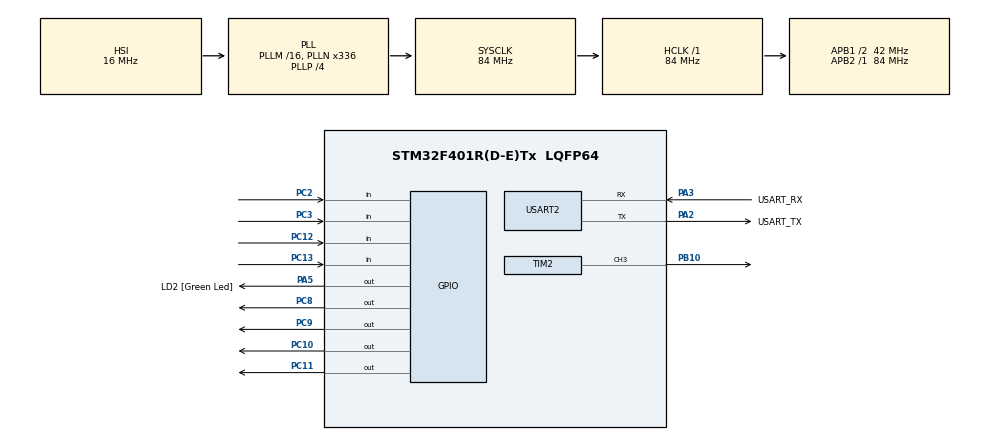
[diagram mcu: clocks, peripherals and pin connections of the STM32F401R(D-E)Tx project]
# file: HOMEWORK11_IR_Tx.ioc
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Mcu.Family=STM32F4
Mcu.Name=STM32F401R(D-E)Tx
Mcu.Package=LQFP64
NVIC.PriorityGroup=NVIC_PRIORITYGROUP_4
NVIC.TIM1_UP_TIM10_IRQn=true\:0\:0\:false\:false\:true\:true\:true\:true
NVIC.TIM3_IRQn=true\:0\:0\:false\:false\:true\:true\:true\:true
PA13.GPIO_Label=TMS
PA13.Mode=Trace_Asynchronous_SW
PA13.Signal=SYS_JTMS-SWDIO
PA14.GPIO_Label=TCK
PA14.Mode=Trace_Asynchronous_SW
PA14.Signal=SYS_JTCK-SWCLK
PA2.GPIO_Label=USART_TX
PA2.GPIO_Mode=GPIO_MODE_AF_PP
PA2.GPIO_PuPd=GPIO_NOPULL
PA2.GPIO_Speed=GPIO_SPEED_FREQ_LOW
PA2.Mode=Asynchronous
PA2.Signal=USART2_TX
PA3.GPIO_Label=USART_RX
PA3.GPIO_Mode=GPIO_MODE_AF_PP
PA3.GPIO_PuPd=GPIO_NOPULL
PA3.GPIO_Speed=GPIO_SPEED_FREQ_LOW
PA3.Mode=Asynchronous
PA3.Signal=USART2_RX
PA5.GPIO_Label=LD2 [Green Led]
PA5.GPIO_Mode=GPIO_MODE_OUTPUT_PP
PA5.GPIO_PuPd=GPIO_NOPULL
PA5.GPIO_Speed=GPIO_SPEED_FREQ_LOW
PA5.Signal=GPIO_Output
PB10.Signal=S_TIM2_CH3
PB3.GPIO_Label=SWO
PB3.Mode=Trace_Asynchronous_SW
PB3.Signal=SYS_JTDO-SWO
PC10.Signal=GPIO_Output
PC11.Signal=GPIO_Output
PC12.Signal=GPIO_Input
PC13-ANTI_TAMP.Signal=GPIO_Input
PC14-OSC32_IN.Mode=LSE-External-Oscillator
PC14-OSC32_IN.Signal=RCC_OSC32_IN
PC15-OSC32_OUT.Mode=LSE-External-Oscillator
PC15-OSC32_OUT.Signal=RCC_OSC32_OUT
PC2.Signal=GPIO_Input
PC3.Signal=GPIO_Input
PC8.Signal=GPIO_Output
PC9.Signal=GPIO_Output
PH0\ -\ OSC_IN.Mode=HSE-External-Clock-Source
PH0\ -\ OSC_IN.Signal=RCC_OSC_IN
PH1\ -\ OSC_OUT.Mode=HSE-External-Clock-Source
PH1\ -\ OSC_OUT.Signal=RCC_OSC_OUT
ProjectManager.HeapSize=0x200
ProjectManager.StackSize=0x400
ProjectManager.TargetToolchain=STM32CubeIDE
RCC.48MHZClocksFreq_Value=48000000
RCC.AHBFreq_Value=84000000
RCC.APB1CLKDivider=RCC_HCLK_DIV2
RCC.APB1Freq_Value=42000000
RCC.APB1TimFreq_Value=84000000
RCC.APB2Freq_Value=84000000
RCC.APB2TimFreq_Value=84000000
RCC.CortexFreq_Value=84000000
RCC.HCLKFreq_Value=84000000
RCC.HSE_VALUE=8000000
RCC.HSI_VALUE=16000000
RCC.PLLN=336
RCC.PLLP=RCC_PLLP_DIV4
RCC.PLLQ=7
RCC.SYSCLKFreq_VALUE=84000000
RCC.SYSCLKSource=RCC_SYSCLKSOURCE_PLLCLK
RCC.VCOOutputFreq_Value=336000000
SH.S_TIM2_CH3.0=TIM2_CH3,PWM Generation3 CH3
TIM10.Period=3999
TIM10.Prescaler=84-1
TIM2.Channel-PWM\ Generation3\ CH3=TIM_CHANNEL_3
TIM2.Period=99
TIM2.Prescaler=21
TIM2.Pulse-PWM\ Generation3\ CH3=50
TIM3.Period=99
TIM3.Prescaler=349
USART2.VirtualMode=VM_ASYNC
VP_TIM10_VS_ClockSourceINT.Mode=Enable_Timer
VP_TIM3_VS_ClockSourceINT.Mode=Internal
board=NUCLEO-F401RE

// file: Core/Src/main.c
/* USER CODE BEGIN Header */
/**
  ******************************************************************************
  * @file           : main.c
  * @brief          : Main program body
  ******************************************************************************
  * @attention
  *
  * Copyright (c) 2025 STMicroelectronics.
  * All rights reserved.
  *
  * This software is licensed under terms that can be found in the LICENSE file
  * in the root directory of this software component.
  * If no LICENSE file comes with this software, it is provided AS-IS.
  *
  ******************************************************************************
  */
/* USER CODE END Header */
#include "main.h"

/* USER CODE BEGIN PD */
#define PIN_C0 GPIOC,GPIO_PIN_11
#define PIN_C1 GPIOC,GPIO_PIN_10
#define PIN_C2 GPIOC,GPIO_PIN_9
#define PIN_C3 GPIOC,GPIO_PIN_8

#define PIN_R0 GPIOC,GPIO_PIN_3
#define PIN_R1 GPIOC,GPIO_PIN_2
#define PIN_R2 GPIOC,GPIO_PIN_13
#define PIN_R3 GPIOC,GPIO_PIN_12

#define DEBOUNCE_TIME 2
/* USER CODE END PD */

TIM_HandleTypeDef htim2;
TIM_HandleTypeDef htim3;
TIM_HandleTypeDef htim10;

UART_HandleTypeDef huart2;

/* USER CODE BEGIN PV */
char map[16] = "ABCDEF0123456789";
uint32_t keypress[16]; //Array to keep track of keypresses
uint32_t ack[16]; //Array for key press acknowledge
int column_index = 0;

uint8_t tx_byte; //transmit byte
int bit_index = -1; //-1 = start bit
uint8_t tx_in_progress = 0; //0: it is not transmitting

/* USER CODE END PV */

void SystemClock_Config(void);
static void MX_GPIO_Init(void);
static void MX_USART2_UART_Init(void);
static void MX_TIM2_Init(void);
static void MX_TIM3_Init(void);
static void MX_TIM10_Init(void);

/* USER CODE BEGIN 0 */

void send_byte(uint8_t b){
    if(tx_in_progress) return;

	tx_byte = b;
	bit_index = -1; //we begin from the start bit
	tx_in_progress = 1;

	HAL_TIM_Base_Start_IT(&htim3);
}

/* USER CODE END 0 */

int main(void)
{

  /* MCU Configuration--------------------------------------------------------*/

  /* Reset of all peripherals, Initializes the Flash interface and the Systick. */
  HAL_Init();

  /* Configure the system clock */
  SystemClock_Config();

  /* Initialize all configured peripherals */
  MX_GPIO_Init();
  MX_USART2_UART_Init();
  MX_TIM2_Init();
  MX_TIM3_Init();
  MX_TIM10_Init();
  /* USER CODE BEGIN 2 */
  HAL_TIM_Base_Start_IT(&htim10);
  /* USER CODE END 2 */

  /* Infinite loop */
  while (1)
  {

  }
}

void SystemClock_Config(void)
{
  RCC_OscInitTypeDef RCC_OscInitStruct = {0};
  RCC_ClkInitTypeDef RCC_ClkInitStruct = {0};

  /** Configure the main internal regulator output voltage
  */
  __HAL_RCC_PWR_CLK_ENABLE();
  __HAL_PWR_VOLTAGESCALING_CONFIG(PWR_REGULATOR_VOLTAGE_SCALE2);

  /** Initializes the RCC Oscillators according to the specified parameters
  * in the RCC_OscInitTypeDef structure.
  */
  RCC_OscInitStruct.OscillatorType = RCC_OSCILLATORTYPE_HSI;
  RCC_OscInitStruct.HSIState = RCC_HSI_ON;
  RCC_OscInitStruct.HSICalibrationValue = RCC_HSICALIBRATION_DEFAULT;
  RCC_OscInitStruct.PLL.PLLState = RCC_PLL_ON;
  RCC_OscInitStruct.PLL.PLLSource = RCC_PLLSOURCE_HSI;
  RCC_OscInitStruct.PLL.PLLM = 16;
  RCC_OscInitStruct.PLL.PLLN = 336;
  RCC_OscInitStruct.PLL.PLLP = RCC_PLLP_DIV4;
  RCC_OscInitStruct.PLL.PLLQ = 7;
  if (HAL_RCC_OscConfig(&RCC_OscInitStruct) != HAL_OK)
  {
    Error_Handler();
  }

  /** Initializes the CPU, AHB and APB buses clocks
  */
  RCC_ClkInitStruct.ClockType = RCC_CLOCKTYPE_HCLK|RCC_CLOCKTYPE_SYSCLK
                              |RCC_CLOCKTYPE_PCLK1|RCC_CLOCKTYPE_PCLK2;
  RCC_ClkInitStruct.SYSCLKSource = RCC_SYSCLKSOURCE_PLLCLK;
  RCC_ClkInitStruct.AHBCLKDivider = RCC_SYSCLK_DIV1;
  RCC_ClkInitStruct.APB1CLKDivider = RCC_HCLK_DIV2;
  RCC_ClkInitStruct.APB2CLKDivider = RCC_HCLK_DIV1;

  if (HAL_RCC_ClockConfig(&RCC_ClkInitStruct, FLASH_LATENCY_2) != HAL_OK)
  {
    Error_Handler();
  }
}

static void MX_TIM2_Init(void)
{

  TIM_MasterConfigTypeDef sMasterConfig = {0};
  TIM_OC_InitTypeDef sConfigOC = {0};

  htim2.Instance = TIM2;
  htim2.Init.Prescaler = 21;
  htim2.Init.CounterMode = TIM_COUNTERMODE_UP;
  htim2.Init.Period = 99;
  htim2.Init.ClockDivision = TIM_CLOCKDIVISION_DIV1;
  htim2.Init.AutoReloadPreload = TIM_AUTORELOAD_PRELOAD_DISABLE;
  if (HAL_TIM_PWM_Init(&htim2) != HAL_OK)
  {
    Error_Handler();
  }
  sMasterConfig.MasterOutputTrigger = TIM_TRGO_RESET;
  sMasterConfig.MasterSlaveMode = TIM_MASTERSLAVEMODE_DISABLE;
  if (HAL_TIMEx_MasterConfigSynchronization(&htim2, &sMasterConfig) != HAL_OK)
  {
    Error_Handler();
  }
  sConfigOC.OCMode = TIM_OCMODE_PWM1;
  sConfigOC.Pulse = 50;
  sConfigOC.OCPolarity = TIM_OCPOLARITY_HIGH;
  sConfigOC.OCFastMode = TIM_OCFAST_DISABLE;
  if (HAL_TIM_PWM_ConfigChannel(&htim2, &sConfigOC, TIM_CHANNEL_3) != HAL_OK)
  {
    Error_Handler();
  }
  HAL_TIM_MspPostInit(&htim2);

}

static void MX_TIM3_Init(void)
{

  TIM_ClockConfigTypeDef sClockSourceConfig = {0};
  TIM_MasterConfigTypeDef sMasterConfig = {0};

  htim3.Instance = TIM3;
  htim3.Init.Prescaler = 349;
  htim3.Init.CounterMode = TIM_COUNTERMODE_UP;
  htim3.Init.Period = 99;
  htim3.Init.ClockDivision = TIM_CLOCKDIVISION_DIV1;
  htim3.Init.AutoReloadPreload = TIM_AUTORELOAD_PRELOAD_DISABLE;
  if (HAL_TIM_Base_Init(&htim3) != HAL_OK)
  {
    Error_Handler();
  }
  sClockSourceConfig.ClockSource = TIM_CLOCKSOURCE_INTERNAL;
  if (HAL_TIM_ConfigClockSource(&htim3, &sClockSourceConfig) != HAL_OK)
  {
    Error_Handler();
  }
  sMasterConfig.MasterOutputTrigger = TIM_TRGO_RESET;
  sMasterConfig.MasterSlaveMode = TIM_MASTERSLAVEMODE_DISABLE;
  if (HAL_TIMEx_MasterConfigSynchronization(&htim3, &sMasterConfig) != HAL_OK)
  {
    Error_Handler();
  }

}

static void MX_TIM10_Init(void)
{

  htim10.Instance = TIM10;
  htim10.Init.Prescaler = 84-1;
  htim10.Init.CounterMode = TIM_COUNTERMODE_UP;
  htim10.Init.Period = 3999;
  htim10.Init.ClockDivision = TIM_CLOCKDIVISION_DIV1;
  htim10.Init.AutoReloadPreload = TIM_AUTORELOAD_PRELOAD_DISABLE;
  if (HAL_TIM_Base_Init(&htim10) != HAL_OK)
  {
    Error_Handler();
  }

}

static void MX_USART2_UART_Init(void)
{

  huart2.Instance = USART2;
  huart2.Init.BaudRate = 115200;
  huart2.Init.WordLength = UART_WORDLENGTH_8B;
  huart2.Init.StopBits = UART_STOPBITS_1;
  huart2.Init.Parity = UART_PARITY_NONE;
  huart2.Init.Mode = UART_MODE_TX_RX;
  huart2.Init.HwFlowCtl = UART_HWCONTROL_NONE;
  huart2.Init.OverSampling = UART_OVERSAMPLING_16;
  if (HAL_UART_Init(&huart2) != HAL_OK)
  {
    Error_Handler();
  }

}

static void MX_GPIO_Init(void)
{
  GPIO_InitTypeDef GPIO_InitStruct = {0};

  /* GPIO Ports Clock Enable */
  __HAL_RCC_GPIOC_CLK_ENABLE();
  __HAL_RCC_GPIOH_CLK_ENABLE();
  __HAL_RCC_GPIOA_CLK_ENABLE();
  __HAL_RCC_GPIOB_CLK_ENABLE();

  /*Configure GPIO pin Output Level */
  HAL_GPIO_WritePin(LD2_GPIO_Port, LD2_Pin, GPIO_PIN_RESET);

  /*Configure GPIO pin Output Level */
  HAL_GPIO_WritePin(GPIOC, GPIO_PIN_8|GPIO_PIN_9|GPIO_PIN_10|GPIO_PIN_11, GPIO_PIN_RESET);

  /*Configure GPIO pins : PC13 PC2 PC3 PC12 */
  GPIO_InitStruct.Pin = GPIO_PIN_13|GPIO_PIN_2|GPIO_PIN_3|GPIO_PIN_12;
  GPIO_InitStruct.Mode = GPIO_MODE_INPUT;
  GPIO_InitStruct.Pull = GPIO_NOPULL;
  HAL_GPIO_Init(GPIOC, &GPIO_InitStruct);

  /*Configure GPIO pin : LD2_Pin */
  GPIO_InitStruct.Pin = LD2_Pin;
  GPIO_InitStruct.Mode = GPIO_MODE_OUTPUT_PP;
  GPIO_InitStruct.Pull = GPIO_NOPULL;
  GPIO_InitStruct.Speed = GPIO_SPEED_FREQ_LOW;
  HAL_GPIO_Init(LD2_GPIO_Port, &GPIO_InitStruct);

  /*Configure GPIO pins : PC8 PC9 PC10 PC11 */
  GPIO_InitStruct.Pin = GPIO_PIN_8|GPIO_PIN_9|GPIO_PIN_10|GPIO_PIN_11;
  GPIO_InitStruct.Mode = GPIO_MODE_OUTPUT_PP;
  GPIO_InitStruct.Pull = GPIO_NOPULL;
  GPIO_InitStruct.Speed = GPIO_SPEED_FREQ_LOW;
  HAL_GPIO_Init(GPIOC, &GPIO_InitStruct);

}

/* USER CODE BEGIN 4 */
void HAL_TIM_PeriodElapsedCallback(TIM_HandleTypeDef *htim)
{
	if(htim == &htim10){
		if(HAL_GPIO_ReadPin(PIN_R0)==GPIO_PIN_SET){
			keypress[4*column_index] = 0;
		} else {
			keypress[4*column_index]++;
		}

		if(HAL_GPIO_ReadPin(PIN_R1)==GPIO_PIN_SET){
			keypress[4*column_index+1] = 0;
		} else {
			keypress[4*column_index+1]++;
		}

		if(HAL_GPIO_ReadPin(PIN_R2)==GPIO_PIN_SET){
			keypress[4*column_index+2] = 0;
		} else {
			keypress[4*column_index+2]++;
		}

		if(HAL_GPIO_ReadPin(PIN_R3)==GPIO_PIN_SET){
			keypress[4*column_index+3] = 0;
		} else {
			keypress[4*column_index+3]++;
		}

		column_index = (column_index+1) % 4;

		HAL_GPIO_WritePin(PIN_C0, (column_index==0)?GPIO_PIN_SET:GPIO_PIN_RESET);
		HAL_GPIO_WritePin(PIN_C1, (column_index==1)?GPIO_PIN_SET:GPIO_PIN_RESET);
		HAL_GPIO_WritePin(PIN_C2, (column_index==2)?GPIO_PIN_SET:GPIO_PIN_RESET);
		HAL_GPIO_WritePin(PIN_C3, (column_index==3)?GPIO_PIN_SET:GPIO_PIN_RESET);

		for(int i = 0; i<16; i++){
			if(keypress[i]>DEBOUNCE_TIME){
				if(ack[i]==0){

					if(!tx_in_progress){//UART IR free?
						send_byte(map[i]);
						ack[i]=1;
					}

				}
			} else {
				ack[i]=0;
			}
		}
	}

	if(htim == &htim3){

		//START BIT
		if(bit_index == -1){
			//Start bit = 0 -> LED ON -> PWM ON
			HAL_TIM_PWM_Start(&htim2, TIM_CHANNEL_3);
			bit_index++;
		}

		//BIT 0...7
		if(bit_index >= 0 && bit_index < 8){
			uint8_t bit = (tx_byte >> bit_index) & 0x01; // Isolate a single bit:
														// 1. (tx_byte >> bit_index) shifts the target bit to LSB/position 0
														// 2. (& 0x01) masks all other bits, ensuring the result is either 0 or 1
			if(bit == 1){
				//Bit = 1 -> LED OFF -> PWM OFF
				HAL_TIM_PWM_Stop(&htim2, TIM_CHANNEL_3);
			} else {
				//Bit = 0 -> LED ON -> PWM ON
				HAL_TIM_PWM_Start(&htim2, TIM_CHANNEL_3);
			}
			bit_index++;
		}

		//STOP BIT
		if(bit_index == 8){
			//Stop bit = 1 -> LED OFF
			HAL_TIM_PWM_Stop(&htim2, TIM_CHANNEL_3);
			bit_index++;
		}

		//end of transmission
		if(bit_index == 9){
			HAL_TIM_PWM_Stop(&htim2, TIM_CHANNEL_3);
			HAL_TIM_Base_Stop_IT(&htim3);
			tx_in_progress = 0; //transmission ended
		}

	}

}
/* USER CODE END 4 */

void Error_Handler(void)
{
  __disable_irq();
  while (1)
  {
  }
}
